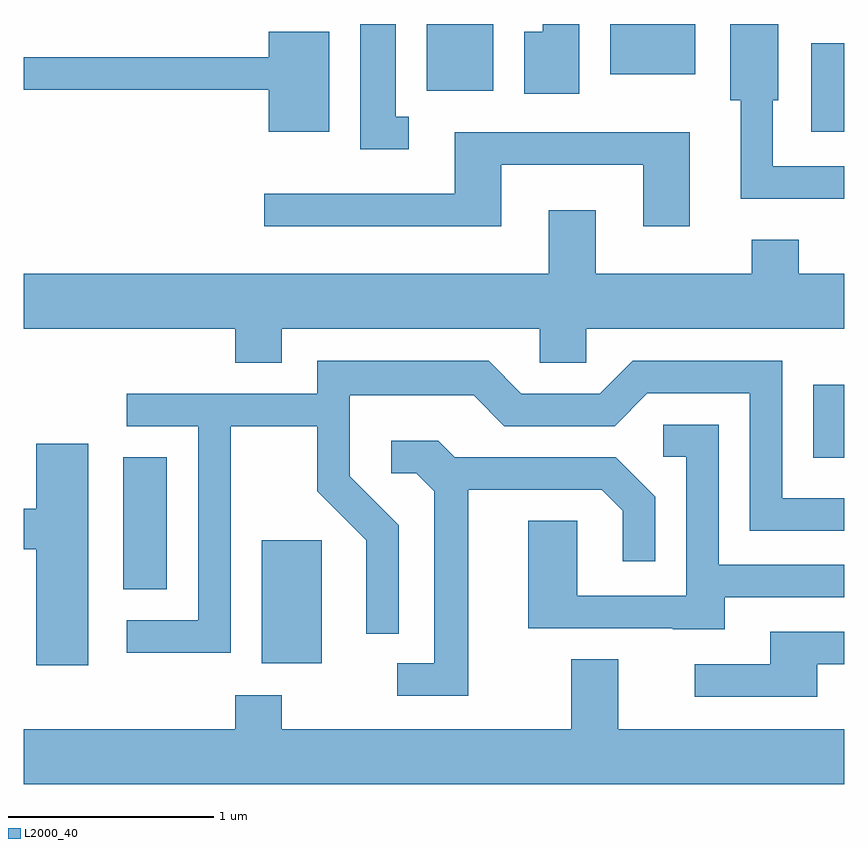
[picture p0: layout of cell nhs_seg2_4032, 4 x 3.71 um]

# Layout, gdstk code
import gdstk
lib = gdstk.Library(unit=1e-6, precision=1e-09)
def R(c, l, rs):  # rectangles x0, y0, x1, y1
    for r in rs: c.add(gdstk.rectangle(r[:2], r[2:], *l))
def P(c, l, *ps):  # polygons
    for p in ps: c.add(gdstk.Polygon(p, *l))
L2000_40 = (2000, 40)

nhs_seg2_4032 = lib.new_cell('nhs_seg2_4032')
R(nhs_seg2_4032, L2000_40, [(304.771,1046.686,305.064,1047.284), (304.096,1047.046,304.309,1047.689), (307.461,1047.686,307.611,1048.043), (307.451,1049.276,307.611,1049.709), (305.576,1049.476,305.899,1049.802), (306.471,1049.556,306.884,1049.802)])
P(nhs_seg2_4032, L2000_40, [(306.319,1049.802),(306.141,1049.802),(306.141,1049.764),(306.051,1049.764),(306.051,1049.461),(306.319,1049.461)],
  [(305.488,1049.349),(305.424,1049.349),(305.424,1049.802),(305.251,1049.802),(305.251,1049.191),(305.488,1049.191)],
  [(307.611,1049.109),(307.264,1049.109),(307.264,1049.431),(307.289,1049.431),(307.289,1049.802),(307.056,1049.802),(307.056,1049.431),(307.106,1049.431),(307.106,1048.951),(307.611,1048.951)],
  [(305.099,1049.764),(304.806,1049.764),(304.806,1049.639),(303.611,1049.639),(303.611,1049.481),(304.806,1049.481),(304.806,1049.276),(305.099,1049.276)],
  [(305.939,1049.116),(306.631,1049.116),(306.631,1048.816),(306.859,1048.816),(306.859,1049.274),(305.711,1049.274),(305.711,1048.974),(304.783,1048.974),(304.783,1048.816),(305.939,1048.816)],
  [(304.869,1048.316),(306.126,1048.316),(306.126,1048.151),(306.354,1048.151),(306.354,1048.316),(307.611,1048.316),(307.611,1048.584),(307.389,1048.584),(307.389,1048.749),(307.161,1048.749),(307.161,1048.584),(306.399,1048.584),(306.399,1048.894),(306.171,1048.894),(306.171,1048.584),(303.611,1048.584),(303.611,1048.316),(304.641,1048.316),(304.641,1048.151),(304.869,1048.151)],
  [(304.619,1047.841),(305.041,1047.841),(305.041,1047.524),(305.281,1047.284),(305.281,1046.828),(305.439,1046.828),(305.439,1047.357),(305.199,1047.597),(305.199,1047.991),(305.804,1047.991),(305.954,1047.841),(306.492,1047.841),(306.652,1048.001),(307.151,1048.001),(307.151,1047.331),(307.611,1047.331),(307.611,1047.489),(307.309,1047.489),(307.309,1048.159),(306.579,1048.159),(306.419,1047.999),(306.037,1047.999),(305.877,1048.159),(305.041,1048.159),(305.041,1047.999),(304.113,1047.999),(304.113,1047.841),(304.461,1047.841),(304.461,1046.894),(304.113,1046.894),(304.113,1046.736),(304.619,1046.736)],
  [(307.029,1047.006),(307.611,1047.006),(307.611,1047.164),(306.999,1047.164),(306.999,1047.849),(306.728,1047.849),(306.728,1047.691),(306.841,1047.691),(306.841,1047.014),(306.309,1047.014),(306.309,1047.379),(306.071,1047.379),(306.071,1046.856),(306.775,1046.856),(306.775,1046.851),(307.029,1046.851)],
  [(305.779,1047.531),(306.429,1047.531),(306.531,1047.429),(306.531,1047.183),(306.689,1047.183),(306.689,1047.497),(306.497,1047.689),(305.712,1047.689),(305.632,1047.769),(305.403,1047.769),(305.403,1047.611),(305.524,1047.611),(305.611,1047.524),(305.611,1046.684),(305.433,1046.684),(305.433,1046.526),(305.779,1046.526)],
  [(303.924,1047.754),(303.671,1047.754),(303.671,1047.439),(303.611,1047.439),(303.611,1047.241),(303.671,1047.241),(303.671,1046.676),(303.924,1046.676)],
  [(307.479,1046.681),(307.611,1046.681),(307.611,1046.839),(307.251,1046.839),(307.251,1046.679),(306.883,1046.679),(306.883,1046.521),(307.479,1046.521)],
  [(307.611,1046.364),(306.509,1046.364),(306.509,1046.704),(306.281,1046.704),(306.281,1046.364),(304.869,1046.364),(304.869,1046.529),(304.641,1046.529),(304.641,1046.364),(303.611,1046.364),(303.611,1046.096),(307.611,1046.096)])

lib.write_gds('nhs_seg2_4032.gds')
